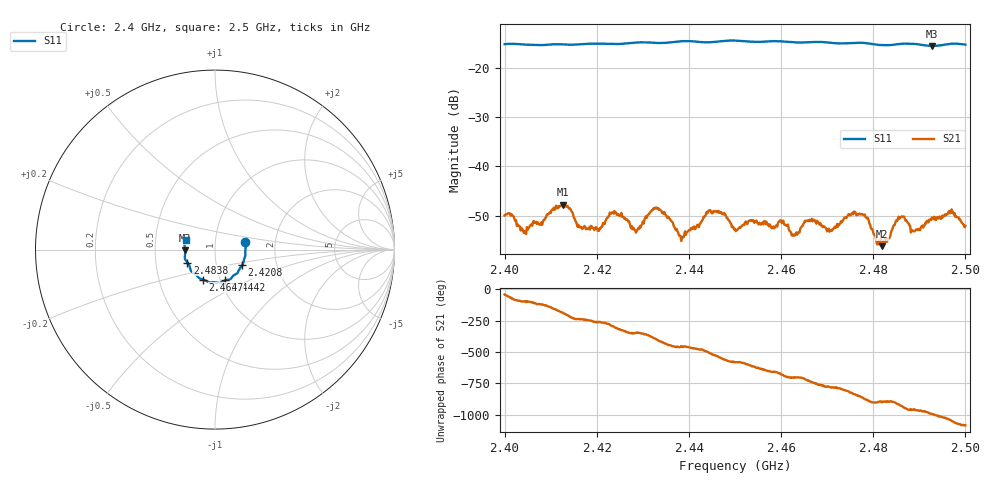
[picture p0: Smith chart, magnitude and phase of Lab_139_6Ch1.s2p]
# Hz S RI R 50
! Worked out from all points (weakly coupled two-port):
!   601 points, 2.4 GHz to 2.5 GHz, reference 50 ohm
!   highest |S21| = -47.80 dB at 2.4127 GHz (marker M1); lowest = -56.2 dB at 2.4818 GHz (marker M2)
!   lowest |S11| = -15.6 dB at 2.4928 GHz (marker M3), VSWR 1.40, Z = 35.8 - j0.363 ohm
!   |S11| at or under -10 dB: start of sweep to end of sweep
!   S12 and S22 are empty: the file has one direction only
!   S11 on the Smith chart (normalised r, x): 2.4 GHz: 1.40, +0.12; 2.4208 GHz: 1.33, -0.24; 2.4442 GHz: 1.05, -0.37; 2.4647 GHz: 0.83, -0.29; 2.4838 GHz: 0.73, -0.11; 2.5 GHz: 0.72, +0.08
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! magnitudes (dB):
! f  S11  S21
! 2.4 GHz  -15.2  -50.0
! 2.4045 GHz  -15.3  -53.1
! 2.4127 GHz  -15.3  -47.8
! 2.4167 GHz  -15.2  -52.3
! 2.4208 GHz  -15.1  -52.6
! 2.4237 GHz  -15.2  -49.6
! 2.4287 GHz  -14.9  -53.2
! 2.4333 GHz  -15.0  -48.5
! 2.4383 GHz  -14.7  -55.1
! 2.4442 GHz  -14.9  -49.1
! 2.45 GHz  -14.5  -52.7
! 2.4647 GHz  -14.9  -52.1
! 2.4667 GHz  -14.8  -50.7
! 2.4705 GHz  -14.9  -53.3
! 2.4777 GHz  -15.0  -49.7
! 2.4818 GHz  -15.4  -56.2
! 2.4833 GHz  -15.4  -54.5
! 2.4838 GHz  -15.4  -53.5
! 2.486 GHz  -15.2  -50.3
! 2.4887 GHz  -15.2  -53.2
! 2.4928 GHz  -15.6  -50.4
! 2.5 GHz  -15.3  -52.1
